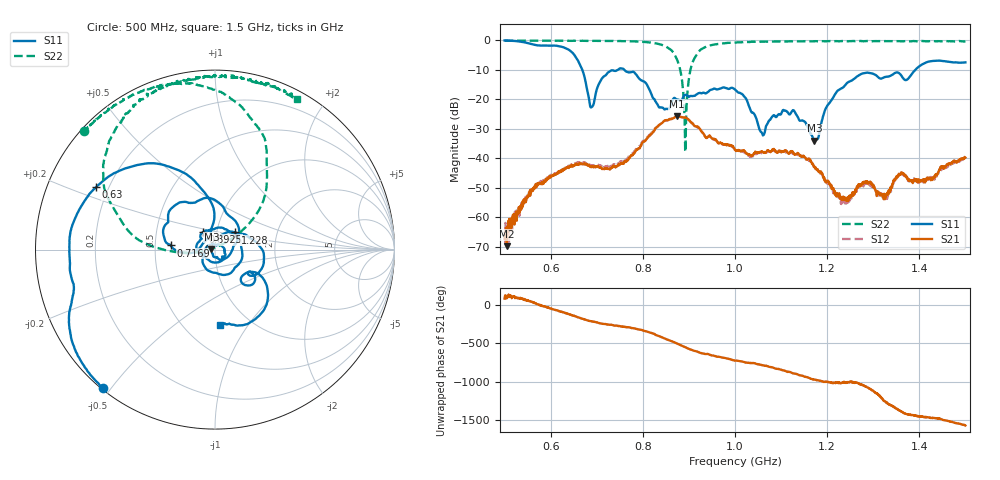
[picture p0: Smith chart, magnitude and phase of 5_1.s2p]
!Agilent Technologies,E8364B,US42250235,A.06.04.32
!Agilent E8364B: A.06.04.32
!Date: Friday, January 15, 2021 11:17:32
!Correction: S11(Full 2 Port(1,2)) S21(Full 2 Port(1,2)) S12(Full 2 Port(1,2)) S22(Full 2 Port(1,2))
!S2P File: Measurements: S11, S21, S12, S22:
# Hz S  dB  R 50
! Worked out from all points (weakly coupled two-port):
!   1601 points, 500 MHz to 1.5 GHz, reference 50 ohm
!   highest |S21| = -25.76 dB at 873.1 MHz (marker M1); lowest = -69.8 dB at 505 MHz (marker M2)
!   lowest |S11| = -34.1 dB at 1.173 GHz (marker M3), VSWR 1.04, Z = 48.1 + j0.3 ohm
!   |S11| at or under -10 dB: 668.5 MHz to 746 MHz (77.5 MHz wide, 11 % of centre); 759.7 MHz to 1.391 GHz (631.6 MHz wide, 58.7 % of centre)
!   |S22| runs from -37.8 to -0.1 dB; largest |S21 - S12| = 0.0029
!   S11 on the Smith chart (normalised r, x): 500 MHz: 0.01, -0.48; 630 MHz: 0.15, +0.24; 716.9 MHz: 0.60, +0.03; 892.5 MHz: 0.86, +0.17; 1.228 GHz: 1.23, +0.24; 1.5 GHz: 0.74, -0.75
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5e8  -0.07 -128.9  -67.33 82.7  -67.65 110.1  -0.14 138.0
5.05e8  -0.10 -131.3  -69.79 111.2  -64.03 106.4  -0.16 137.8
5.625e8  -1.46 -160.6  -50.49 29.9  -50.43 31.7  -0.18 132.5
6.3e8  -2.52 152.3  -43.81 -100.6  -43.38 -101.5  -0.17 125.3
6.66875e8  -9.38 102.0  -41.82 -176.6  -41.68 -175.8  -0.18 121.4
6.8875e8  -22.68 142.6  -42.72 146.6  -42.35 145.0  -0.21 118.8
7.16875e8  -12.14 174.6  -43.62 113.9  -42.96 109.9  -0.24 115.6
7.80625e8  -10.79 95.8  -38.37 55.7  -37.77 50.3  -0.39 104.1
8.3375e8  -22.39 -41.6  -28.98 -43.7  -28.95 -42.2  -1.20 86.8
8.73125e8  -20.20 152.3  -25.76 -140.6  -25.92 -140.0  -6.19 53.8
8.925e8  -18.51 124.1  -26.14 168.0  -26.22 168.5  -37.81 152.0
9.0375e8  -18.87 104.4  -27.72 137.6  -27.72 137.8  -9.72 178.1
9.1875e8  -18.12 81.5  -29.29 109.4  -29.41 109.9  -4.35 158.1
1e9  -16.69 -73.8  -37.10 -5.9  -37.24 -6.1  -0.77 120.0
1.05875e9  -31.51 77.2  -37.81 -65.7  -38.14 -64.3  -0.48 110.1
1.1075e9  -23.86 -35.5  -37.36 -138.1  -37.67 -137.9  -0.41 104.6
1.166875e9  -32.21 -143.5  -41.69 111.6  -41.90 116.7  -0.39 96.9
1.1725e9  -34.06 171.0  -43.00 104.2  -43.05 104.9  -0.34 96.0
1.2275e9  -16.62 40.4  -53.60 58.4  -53.14 64.9  -0.33 90.4
1.33375e9  -12.25 -31.8  -50.81 140.6  -52.31 150.8  -0.32 80.0
1.35875e9  -11.52 -48.6  -45.49 54.2  -45.41 57.4  -0.35 77.8
1.5e9  -7.50 -85.9  -39.79 -134.8  -40.27 -133.2  -0.38 61.5
